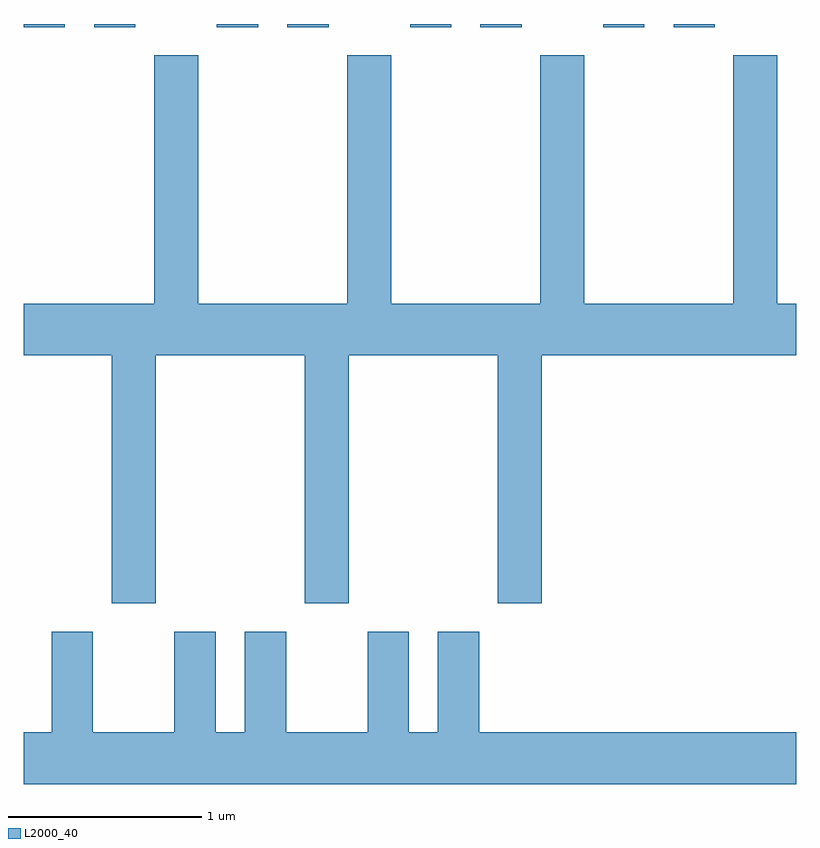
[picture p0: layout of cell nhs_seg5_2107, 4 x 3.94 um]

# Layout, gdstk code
import gdstk
lib = gdstk.Library(unit=1e-6, precision=1e-09)
def R(c, l, rs):  # rectangles x0, y0, x1, y1
    for r in rs: c.add(gdstk.rectangle(r[:2], r[2:], *l))
def P(c, l, *ps):  # polygons
    for p in ps: c.add(gdstk.Polygon(p, *l))
L2000_40 = (2000, 40)

nhs_seg5_2107 = lib.new_cell('nhs_seg5_2107')
R(nhs_seg5_2107, L2000_40, [(247.611,1454.056,247.824,1454.072), (247.976,1454.056,248.189,1454.072), (248.611,1454.056,248.824,1454.072), (248.976,1454.056,249.189,1454.072), (249.611,1454.056,249.824,1454.072), (249.976,1454.056,250.189,1454.072), (250.611,1454.056,250.824,1454.072), (250.976,1454.056,251.189,1454.072)])
P(nhs_seg5_2107, L2000_40, [(248.294,1452.356),(249.066,1452.356),(249.066,1451.071),(249.294,1451.071),(249.294,1452.356),(250.066,1452.356),(250.066,1451.071),(250.294,1451.071),(250.294,1452.356),(251.611,1452.356),(251.611,1452.624),(251.514,1452.624),(251.514,1453.909),(251.286,1453.909),(251.286,1452.624),(250.514,1452.624),(250.514,1453.909),(250.286,1453.909),(250.286,1452.624),(249.514,1452.624),(249.514,1453.909),(249.286,1453.909),(249.286,1452.624),(248.514,1452.624),(248.514,1453.909),(248.286,1453.909),(248.286,1452.624),(247.611,1452.624),(247.611,1452.356),(248.066,1452.356),(248.066,1451.071),(248.294,1451.071)],
  [(249.756,1450.924),(249.756,1450.404),(249.604,1450.404),(249.604,1450.924),(249.391,1450.924),(249.391,1450.404),(248.969,1450.404),(248.969,1450.924),(248.756,1450.924),(248.756,1450.404),(248.604,1450.404),(248.604,1450.924),(248.391,1450.924),(248.391,1450.404),(247.969,1450.404),(247.969,1450.924),(247.756,1450.924),(247.756,1450.404),(247.611,1450.404),(247.611,1450.136),(251.611,1450.136),(251.611,1450.404),(249.969,1450.404),(249.969,1450.924)])

lib.write_gds('nhs_seg5_2107.gds')
